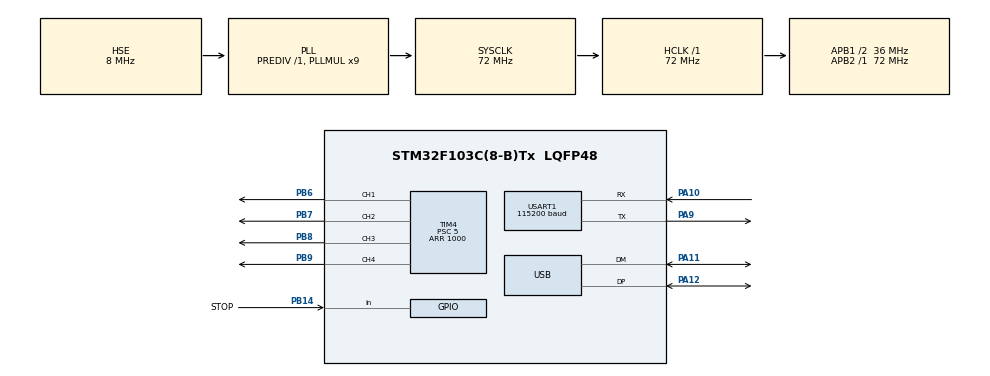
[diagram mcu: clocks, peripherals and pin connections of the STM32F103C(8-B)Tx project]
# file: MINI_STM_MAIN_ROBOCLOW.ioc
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Mcu.Family=STM32F1
Mcu.Name=STM32F103C(8-B)Tx
Mcu.Package=LQFP48
NVIC.PriorityGroup=NVIC_PRIORITYGROUP_4
NVIC.TIM3_IRQn=true\:0\:0\:false\:false\:true\:true\:true\:true
NVIC.USB_LP_CAN1_RX0_IRQn=true\:0\:0\:false\:false\:true\:false\:true\:true
PA10.Mode=Asynchronous
PA10.Signal=USART1_RX
PA11.Mode=Device
PA11.Signal=USB_DM
PA12.Mode=Device
PA12.Signal=USB_DP
PA13.Mode=Serial_Wire
PA13.Signal=SYS_JTMS-SWDIO
PA14.Mode=Serial_Wire
PA14.Signal=SYS_JTCK-SWCLK
PA9.Mode=Asynchronous
PA9.Signal=USART1_TX
PB14.GPIO_Label=STOP
PB14.GPIO_PuPd=GPIO_PULLUP
PB14.Signal=GPIO_Input
PB6.Signal=S_TIM4_CH1
PB7.Signal=S_TIM4_CH2
PB8.Signal=S_TIM4_CH3
PB9.Signal=S_TIM4_CH4
PD0-OSC_IN.Mode=HSE-External-Oscillator
PD0-OSC_IN.Signal=RCC_OSC_IN
PD1-OSC_OUT.Mode=HSE-External-Oscillator
PD1-OSC_OUT.Signal=RCC_OSC_OUT
ProjectManager.HeapSize=0x200
ProjectManager.StackSize=0x400
ProjectManager.TargetToolchain=STM32CubeIDE
RCC.AHBFreq_Value=72000000
RCC.APB1CLKDivider=RCC_HCLK_DIV2
RCC.APB1Freq_Value=36000000
RCC.APB1TimFreq_Value=72000000
RCC.APB2Freq_Value=72000000
RCC.APB2TimFreq_Value=72000000
RCC.HCLKFreq_Value=72000000
RCC.PLLMUL=RCC_PLL_MUL9
RCC.SYSCLKFreq_VALUE=72000000
RCC.SYSCLKSource=RCC_SYSCLKSOURCE_PLLCLK
RCC.USBFreq_Value=48000000
RCC.USBPrescaler=RCC_USBCLKSOURCE_PLL_DIV1_5
SH.S_TIM4_CH1.0=TIM4_CH1,PWM Generation1 CH1
SH.S_TIM4_CH2.0=TIM4_CH2,PWM Generation2 CH2
SH.S_TIM4_CH3.0=TIM4_CH3,PWM Generation3 CH3
SH.S_TIM4_CH4.0=TIM4_CH4,PWM Generation4 CH4
TIM3.Period=1000
TIM3.Prescaler=120
TIM4.Channel-PWM\ Generation1\ CH1=TIM_CHANNEL_1
TIM4.Channel-PWM\ Generation2\ CH2=TIM_CHANNEL_2
TIM4.Channel-PWM\ Generation3\ CH3=TIM_CHANNEL_3
TIM4.Channel-PWM\ Generation4\ CH4=TIM_CHANNEL_4
TIM4.Period=1000
TIM4.Prescaler=5
USART1.BaudRate=115200
USART1.VirtualMode=VM_ASYNC
USB_DEVICE.CLASS_NAME_FS=CDC
USB_DEVICE.VirtualMode=Cdc
USB_DEVICE.VirtualModeFS=Cdc_FS
VP_TIM3_VS_ClockSourceINT.Mode=Internal
VP_USB_DEVICE_VS_USB_DEVICE_CDC_FS.Mode=CDC_FS
board=custom

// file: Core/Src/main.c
/* USER CODE BEGIN Header */
/**
  ******************************************************************************
  * @file           : main.c
  * @brief          : Main program body
  ******************************************************************************
  * @attention
  *
  * Copyright (c) 2024 STMicroelectronics.
  * All rights reserved.
  *
  * This software is licensed under terms that can be found in the LICENSE file
  * in the root directory of this software component.
  * If no LICENSE file comes with this software, it is provided AS-IS.
  *
  ******************************************************************************
  */
/* USER CODE END Header */
#include "main.h"
#include "usb_device.h"

/* USER CODE BEGIN Includes */
#include "usbd_cdc_if.h"
#include <stdbool.h>
/* USER CODE END Includes */

TIM_HandleTypeDef htim3;
TIM_HandleTypeDef htim4;

UART_HandleTypeDef huart1;

void SystemClock_Config(void);
static void MX_GPIO_Init(void);
static void MX_TIM4_Init(void);
static void MX_TIM3_Init(void);
static void MX_USART1_UART_Init(void);

/* USER CODE BEGIN 0 */
int16_t length = 0;
int16_t function_code = 0;
int8_t new_data_received = 0;
int8_t start = 0;
int8_t stopPinCounter = 0;
int8_t fren = 0;
int16_t min_pwm = 0;
int16_t value[4] = {0} ;
int8_t number_of_bytes = 0;
int16_t starting_address = 0;
int16_t crc = 0xFFFF;
int16_t pwm_value1 = 0;
int16_t target_value1 = 0;
int16_t pwm_value2 = 0;
int16_t target_value2 = 0;
int16_t limit = 600;
int16_t default_pwm = 0;
int8_t slave_address = 1;
int16_t pwm_min = 80;
int16_t pwm_min_angular = 100;
int32_t counter_timer = 0;
int16_t no_response_wait_time = 1000;
static const int16_t crcTable[256] = {
    // CRC16-Modbus table
    0x0000, 0xC0C1, 0xC181, 0x0140, 0xC301, 0x03C0, 0x0280, 0xC241,
    0xC601, 0x06C0, 0x0780, 0xC741, 0x0500, 0xC5C1, 0xC481, 0x0440,
    0xCC01, 0x0CC0, 0x0D80, 0xCD41, 0x0F00, 0xCFC1, 0xCE81, 0x0E40,
    0x0A00, 0xCAC1, 0xCB81, 0x0B40, 0xC901, 0x09C0, 0x0880, 0xC841,
    0xD801, 0x18C0, 0x1980, 0xD941, 0x1B00, 0xDBC1, 0xDA81, 0x1A40,
    0x1E00, 0xDEC1, 0xDF81, 0x1F40, 0xDD01, 0x1DC0, 0x1C80, 0xDC41,
    0x1400, 0xD4C1, 0xD581, 0x1540, 0xD701, 0x17C0, 0x1680, 0xD641,
    0xD201, 0x12C0, 0x1380, 0xD341, 0x1100, 0xD1C1, 0xD081, 0x1040,
    0xF001, 0x30C0, 0x3180, 0xF141, 0x3300, 0xF3C1, 0xF281, 0x3240,
    0x3600, 0xF6C1, 0xF781, 0x3740, 0xF501, 0x35C0, 0x3480, 0xF441,
    0x3C00, 0xFCC1, 0xFD81, 0x3D40, 0xFF01, 0x3FC0, 0x3E80, 0xFE41,
    0xFA01, 0x3AC0, 0x3B80, 0xFB41, 0x3900, 0xF9C1, 0xF881, 0x3840,
    0x2800, 0xE8C1, 0xE981, 0x2940, 0xEB01, 0x2BC0, 0x2A80, 0xEA41,
    0xEE01, 0x2EC0, 0x2F80, 0xEF41, 0x2D00, 0xEDC1, 0xEC81, 0x2C40,
    0xE401, 0x24C0, 0x2580, 0xE541, 0x2700, 0xE7C1, 0xE681, 0x2640,
    0x2200, 0xE2C1, 0xE381, 0x2340, 0xE101, 0x21C0, 0x2080, 0xE041,
    0xA001, 0x60C0, 0x6180, 0xA141, 0x6300, 0xA3C1, 0xA281, 0x6240,
    0x6600, 0xA6C1, 0xA781, 0x6740, 0xA501, 0x65C0, 0x6480, 0xA441,
    0x6C00, 0xACC1, 0xAD81, 0x6D40, 0xAF01, 0x6FC0, 0x6E80, 0xAE41,
    0xAA01, 0x6AC0, 0x6B80, 0xAB41, 0x6900, 0xA9C1, 0xA881, 0x6840,
    0x7800, 0xB8C1, 0xB981, 0x7940, 0xBB01, 0x7BC0, 0x7A80, 0xBA41,
    0xBE01, 0x7EC0, 0x7F80, 0xBF41, 0x7D00, 0xBDC1, 0xBC81, 0x7C40,
    0xB401, 0x74C0, 0x7580, 0xB541, 0x7700, 0xB7C1, 0xB681, 0x7640,
    0x7200, 0xB2C1, 0xB381, 0x7340, 0xB101, 0x71C0, 0x7080, 0xB041,
    0x5000, 0x90C1, 0x9181, 0x5140, 0x9301, 0x53C0, 0x5280, 0x9241,
    0x9601, 0x56C0, 0x5780, 0x9741, 0x5500, 0x95C1, 0x9481, 0x5440,
    0x9C01, 0x5CC0, 0x5D80, 0x9D41, 0x5F00, 0x9FC1, 0x9E81, 0x5E40,
    0x5A00, 0x9AC1, 0x9B81, 0x5B40, 0x9901, 0x59C0, 0x5880, 0x9841,
    0x8801, 0x48C0, 0x4980, 0x8941, 0x4B00, 0x8BC1, 0x8A81, 0x4A40,
    0x4E00, 0x8EC1, 0x8F81, 0x4F40, 0x8D01, 0x4DC0, 0x4C80, 0x8C41,
    0x4400, 0x84C1, 0x8581, 0x4540, 0x8701, 0x47C0, 0x4680, 0x8641,
    0x8201, 0x42C0, 0x4380, 0x8341, 0x4100, 0x81C1, 0x8081, 0x4040
};

typedef struct {
    int16_t data[128];
} ModbusDevice;

ModbusDevice modbusDevices[15];
#define ROM_START_ADDRESS 0x08010000
#define PAGE_SIZE ((int32_t)FLASH_PAGE_SIZE)
#define PACKET_SIZE sizeof(ModbusDevice)
#define MOTOR_ADDRESS 0x80
#define FORWARD_COMMAND1 0x00
#define BACKWARD_COMMAND1 0x01
#define FORWARD_COMMAND2 0x04
#define BACKWARD_COMMAND2 0x05
#define STOP_COMMAND 0x00
#define FULL_SPEED 127

/* CRC Calculation Function */
int16_t calculateCRC(uint8_t *buffer, uint16_t length) {
    int16_t crc = 0xFFFF;
    for (int i = 0; i < length; ++i) {
        crc = (crc >> 8) ^ crcTable[(crc & 0xFF) ^ buffer[i]];
    }
    return crc;
}

/* UART Receive Complete Callback */

/* Transmit String over USB CDC */
void CDC_Transmit_String(char* string) {
    CDC_Transmit_FS((uint8_t*)string, strlen(string));
}

void CDC_ReceiveCallback(uint8_t *buf, uint32_t len) {
    // Callback function called when data is received over USB
	/*
    int16_t received_crc = (buf[len - 2] << 8) | buf[len - 1];
    int16_t calculated_crc = calculateCRC(buf, len - 2);

    if (calculated_crc != received_crc) {
        return;
    }
	*/
    slave_address = buf[0];
    function_code = buf[1];
    starting_address = (buf[2] << 8) | buf[3];
    length = (buf[4] << 8) | buf[5];
    new_data_received = 1;

    if (function_code == 16 && len >= 9 + length) {
        number_of_bytes = buf[6];
        for (int8_t i = 0; i < number_of_bytes; i += 2) {
            value[i / 2] = (buf[7 + i] << 8) | buf[8 + i];
        }
    }
}

void initialize_device(int8_t slave_address) {
    for (int16_t i = 0; i < 300; i++) {
        modbusDevices[slave_address].data[i] = 0;
    }
}

void write_to_modbus(uint8_t index,int16_t value){
	modbusDevices[slave_address].data[index]= value;
}

void write_command(int8_t slave_address, int16_t starting_address, int16_t length) {
	modbusDevices[slave_address].data[starting_address] = length;
}
void write_multiple_command(int8_t slave_address, int16_t starting_address, int16_t length, int16_t* value) {
    for (int16_t i = 0; i < number_of_bytes/2; i++) {
        modbusDevices[slave_address].data[starting_address + i] = value[i];
        //CDC_Transmit_FS(modbusDevices[slave_address].data, 10);
    }

}
void read_command(int8_t slave_address, int16_t starting_address, int16_t length, int16_t crc) {
    uint8_t response[128] = {0};
    uint8_t response_length = 3 + length * 2 + 2;
    if (starting_address + length <= 128) {
        response[0] = slave_address;
        response[1] = 0x03;
        response[2] = length * 2;

        for (int8_t i = 0; i < length; i++) {
            response[3 + i * 2] = modbusDevices[slave_address].data[starting_address + i] >> 8;
            response[3 + i * 2 + 1] = modbusDevices[slave_address].data[starting_address + i] & 0xFF;
        }

        crc = calculateCRC(response, response_length - 2);
        response[response_length - 2] = crc & 0xFF;
        response[response_length - 1] = crc >> 8;

        CDC_Transmit_FS(response, response_length);
    }
}

/*

OUTS
mosfet_1_A_H
mosfet_1_B_H
mosfet_2_A_H
mosfet_2_B_H
mosfet_3_A_H
mosfet_3_B_H
mosfet_4_A_H
mosfet_4_B_H

PWMS
mosfet_1_A_L	 Timer 2 Channel 1
mosfet_1_B_L	 Timer 2 Channel 2
mosfet_2_A_L	 Timer 2 Channel 3
mosfet_2_B_L	 Timer 2 Channel 4
mosfet_3_A_L	 Timer 4 Channel 1
mosfet_3_B_L	 Timer 4 Channel 2
mosfet_4_A_L	 Timer 4 Channel 3
mosfet_4_B_L	 Timer 4 Channel 4

mosfet_1_A_L	 Timer 2 Channel 3
mosfet_1_B_L	 Timer 2 Channel 1
mosfet_2_A_L	 Timer 2 Channel 4
mosfet_2_B_L	 Timer 2 Channel 2
mosfet_3_A_L	 Timer 4 Channel 3
mosfet_3_B_L	 Timer 4 Channel 1
mosfet_4_A_L	 Timer 4 Channel 4
mosfet_4_B_L	 Timer 4 Channel 2

*/

unsigned int crc16_xmodem(unsigned char *packet, int nBytes) {
    unsigned int crc = 0x0000;  // CRC-16/XMODEM için başlangıç değeri
    for (int byte = 0; byte < nBytes; byte++) {
        crc ^= ((unsigned int)packet[byte] << 8);
        for (unsigned char bit = 0; bit < 8; bit++) {
            if (crc & 0x8000) {
                crc = ((crc << 1) ^ 0x1021);
            } else {
                crc <<= 1;
            }
        }
        crc &= 0xFFFF;  // CRC'yi 16 bit ile sınırla
    }
    return crc;
}

void send_motor_command(uint8_t command, uint8_t speed) {
    uint8_t packet[5];
    packet[0] = MOTOR_ADDRESS;
    packet[1] = command;
    packet[2] = speed;

    // CRC'yi hesapla (CRC-16/XMODEM)
    unsigned int crc = crc16_xmodem(packet, 3);

    // CRC'yi pakete ekle (MSB önce olacak şekilde)
    packet[3] = (crc >> 8) & 0xFF;  // CRC üst bayt (MSB)
    packet[4] = crc & 0xFF;         // CRC alt bayt (LSB)

    // Paketi UART üzerinden gönder
    HAL_UART_Transmit(&huart1, packet, 5, HAL_MAX_DELAY);
}

void drive_motor_forward1(int8_t speed) {
    send_motor_command(FORWARD_COMMAND1, speed);
}

void drive_motor_backward1(int8_t speed) {
    send_motor_command(BACKWARD_COMMAND1, speed);
}

void drive_motor_forward2(int8_t speed) {
    send_motor_command(FORWARD_COMMAND2, speed);
}

void drive_motor_backward2(int8_t speed) {
    send_motor_command(BACKWARD_COMMAND2, speed);
}

void stop_motor(void) {
    send_motor_command(STOP_COMMAND, 0);
}

int ConstrainTargetValue(int target)
{
    if (target < min_pwm && target > 2) {
        return min_pwm;
    } else if (target > -min_pwm && target < -2) {
        return -min_pwm;
    }
    return target;
}

int ConstrainTargetValue2(int target)
{
    if (target < 100 && target >-100) {
        return 0;
    }
    else{
    	return target;
    }

}

void setPWMValues__Right(int16_t pwm)
{
    // speed'i hesapla
    int16_t temp_speed = (pwm * 128) / 1000;

    // speed değerini -127 ile 127 arasında sınırla
    if (temp_speed > 127)
        temp_speed = 127;
    else if (temp_speed < -127)
        temp_speed = -127;

    int8_t speed = (int8_t)temp_speed;

    // Motoru sür
    if(speed >= 0){
        drive_motor_forward1(speed);
    } else {
        drive_motor_backward1(-speed);
    }

    write_to_modbus(4, speed);
}

void setPWMValues_Left(int16_t pwm)
{
    // speed'i hesapla
    int16_t temp_speed = (pwm * 128) / 1000;

    // speed değerini -127 ile 127 arasında sınırla
    if (temp_speed > 127)
        temp_speed = 127;
    else if (temp_speed < -127)
        temp_speed = -127;

    int8_t speed = (int8_t)temp_speed;

    // Motoru sür
    if(speed >= 0){
        drive_motor_forward2(speed);
    } else {
        drive_motor_backward2(-speed);
    }

    write_to_modbus(5, speed);
}

void incrementPWMValue(int16_t *pwm_value, int16_t target_value)
{
	int8_t inc = 2;
	if (*pwm_value<10 && *pwm_value >-10){
		inc=1;
	}else{
		inc=2;
	}
    if (*pwm_value < target_value) {
        *pwm_value += inc;
        if (*pwm_value > target_value) {
            *pwm_value = target_value;
        }
    } else if (*pwm_value > target_value) {
        *pwm_value -= inc;
        if (*pwm_value < target_value) {
            *pwm_value = target_value;
        }
    }

    // Limit check for pwm_value
    if (*pwm_value > limit) *pwm_value = limit;
    if (*pwm_value < -limit) *pwm_value = -limit;
}

void UpdatePWMValues(void)
{
    static int prev_pwm_value1 = 0;
    static int prev_pwm_value2 = 0;
    int16_t pwm1 =0;
    int16_t pwm2 =0;
    min_pwm=pwm_min;

    if (((target_value1 > 0 && target_value2 < 0) || (target_value1 < 0 && target_value2 > 0)) && abs((abs( modbusDevices[01].data[0]) - abs( modbusDevices[01].data[1]))<50 )){
    	min_pwm = pwm_min_angular;
    }

    incrementPWMValue(&pwm_value1, target_value1);
    incrementPWMValue(&pwm_value2, target_value2);
    if (abs(prev_pwm_value1) >= abs(pwm_value1)){
    pwm1 = ConstrainTargetValue2(pwm_value1);
    pwm2 = ConstrainTargetValue2(pwm_value2);

    target_value1 = ConstrainTargetValue2(target_value1);
    target_value2 = ConstrainTargetValue2(target_value2);
    }
    else{
    pwm1 = ConstrainTargetValue(pwm_value1);
    pwm2 = ConstrainTargetValue(pwm_value2);
    pwm_value1 = ConstrainTargetValue(pwm_value1);
    pwm_value2 = ConstrainTargetValue(pwm_value2);
    target_value1 = ConstrainTargetValue(target_value1);
    target_value2 = ConstrainTargetValue(target_value2);
    }

	setPWMValues_Left(pwm1);
	prev_pwm_value1 = pwm_value1;
	write_to_modbus(18,pwm_value1);

	setPWMValues__Right(pwm2);
	prev_pwm_value2 = pwm_value2;
	write_to_modbus(19,pwm_value2);

}

bool Check_Stop_Pin()
{

    if(HAL_GPIO_ReadPin(STOP_GPIO_Port, STOP_Pin) == GPIO_PIN_RESET)
    {
        return false;
    }

    else
    {
        return true;
    }
}

 // Sayaç değişkeni

void SetTargetValues() {
    if(Check_Stop_Pin()) {
        stopPinCounter = 0;  // Reset sayaç
        /*
        if(pwm_value1 >0 && pwm_value1 <250 &&  modbusDevices[01].data[0] <= 0 && modbusDevices[01].data[6] == 300 ){
        	pwm_value1=modbusDevices[01].data[6];
        }
        if(pwm_value1 <0 && pwm_value1 >-250 &&  modbusDevices[01].data[0] >=  0  && modbusDevices[01].data[4] == -300){
        	pwm_value1=modbusDevices[01].data[4];
        }
        if(pwm_value2 >0 && pwm_value2 <250 &&  modbusDevices[01].data[1] <= 0 && modbusDevices[01].data[7] == 300){
        	pwm_value2=modbusDevices[01].data[7];
        }
        if(pwm_value2 <0 && pwm_value2 >-250 &&  modbusDevices[01].data[1] >=  0 && modbusDevices[01].data[5] == -300){
        	pwm_value2=modbusDevices[01].data[5];
        }
	*/
        int16_t temp_target_1 = modbusDevices[01].data[0];
        int16_t temp_target_2 = modbusDevices[01].data[1];

        if(temp_target_1>0&&temp_target_1<min_pwm)temp_target_1=min_pwm;
        if(temp_target_2>0&&temp_target_2<min_pwm)temp_target_2=min_pwm;

        if(temp_target_1<0&&temp_target_1>-min_pwm)temp_target_1=-min_pwm;
		if(temp_target_2<0&&temp_target_2>-min_pwm)temp_target_2=-min_pwm;

		target_value1=temp_target_1;

		target_value2=temp_target_2;

        write_to_modbus(14,1);
    } else {
        stopPinCounter++;

        if (stopPinCounter >= 5) {
            target_value1 = 0;
            target_value2 = 0;
            write_to_modbus(14,0);
        }
    }
}

/* USER CODE END 0 */

int main(void)
{

  /* MCU Configuration--------------------------------------------------------*/

  /* Reset of all peripherals, Initializes the Flash interface and the Systick. */
  HAL_Init();

  /* Configure the system clock */
  SystemClock_Config();

  /* Initialize all configured peripherals */
  MX_GPIO_Init();
  MX_TIM4_Init();
  MX_USB_DEVICE_Init();
  MX_TIM3_Init();
  MX_USART1_UART_Init();
  /* USER CODE BEGIN 2 */
  initialize_device(1);
  if (HAL_TIM_Base_Start_IT(&htim3) != HAL_OK)
  {
    /* Starting Error */
    Error_Handler();
  }
  MX_USB_DEVICE_Init();
  /* USER CODE END 2 */

  /* Infinite loop */
  /* USER CODE BEGIN WHILE */
  while (1)
  {

	  SetTargetValues();

      if (new_data_received) {
    	  counter_timer =  HAL_GetTick();;
    	  if(function_code == 6) {
    		  write_command(slave_address, starting_address, length);
          } else if(function_code == 16) {
        	  write_multiple_command(slave_address, starting_address, length,value);
          }else {
        	  read_command(slave_address, starting_address, length, crc);
    	  }
    	  start=1;
          new_data_received = 0;
      }
      limit = modbusDevices[01].data[15];
      pwm_min = modbusDevices[01].data[16];
      pwm_min_angular = modbusDevices[01].data[17];

      if(( HAL_GetTick()-counter_timer)>no_response_wait_time ){
      modbusDevices[01].data[0]=0;
      modbusDevices[01].data[1]=0;
      modbusDevices[01].data[2]=0;
      modbusDevices[01].data[3]=0;
      }

    /* USER CODE END WHILE */

  }
}

void SystemClock_Config(void)
{
  RCC_OscInitTypeDef RCC_OscInitStruct = {0};
  RCC_ClkInitTypeDef RCC_ClkInitStruct = {0};
  RCC_PeriphCLKInitTypeDef PeriphClkInit = {0};

  /** Initializes the RCC Oscillators according to the specified parameters
  * in the RCC_OscInitTypeDef structure.
  */
  RCC_OscInitStruct.OscillatorType = RCC_OSCILLATORTYPE_HSE;
  RCC_OscInitStruct.HSEState = RCC_HSE_ON;
  RCC_OscInitStruct.HSEPredivValue = RCC_HSE_PREDIV_DIV1;
  RCC_OscInitStruct.HSIState = RCC_HSI_ON;
  RCC_OscInitStruct.PLL.PLLState = RCC_PLL_ON;
  RCC_OscInitStruct.PLL.PLLSource = RCC_PLLSOURCE_HSE;
  RCC_OscInitStruct.PLL.PLLMUL = RCC_PLL_MUL9;
  if (HAL_RCC_OscConfig(&RCC_OscInitStruct) != HAL_OK)
  {
    Error_Handler();
  }

  /** Initializes the CPU, AHB and APB buses clocks
  */
  RCC_ClkInitStruct.ClockType = RCC_CLOCKTYPE_HCLK|RCC_CLOCKTYPE_SYSCLK
                              |RCC_CLOCKTYPE_PCLK1|RCC_CLOCKTYPE_PCLK2;
  RCC_ClkInitStruct.SYSCLKSource = RCC_SYSCLKSOURCE_PLLCLK;
  RCC_ClkInitStruct.AHBCLKDivider = RCC_SYSCLK_DIV1;
  RCC_ClkInitStruct.APB1CLKDivider = RCC_HCLK_DIV2;
  RCC_ClkInitStruct.APB2CLKDivider = RCC_HCLK_DIV1;

  if (HAL_RCC_ClockConfig(&RCC_ClkInitStruct, FLASH_LATENCY_2) != HAL_OK)
  {
    Error_Handler();
  }
  PeriphClkInit.PeriphClockSelection = RCC_PERIPHCLK_USB;
  PeriphClkInit.UsbClockSelection = RCC_USBCLKSOURCE_PLL_DIV1_5;
  if (HAL_RCCEx_PeriphCLKConfig(&PeriphClkInit) != HAL_OK)
  {
    Error_Handler();
  }
}

static void MX_TIM3_Init(void)
{

  TIM_ClockConfigTypeDef sClockSourceConfig = {0};
  TIM_MasterConfigTypeDef sMasterConfig = {0};

  htim3.Instance = TIM3;
  htim3.Init.Prescaler = 120;
  htim3.Init.CounterMode = TIM_COUNTERMODE_UP;
  htim3.Init.Period = 1000;
  htim3.Init.ClockDivision = TIM_CLOCKDIVISION_DIV1;
  htim3.Init.AutoReloadPreload = TIM_AUTORELOAD_PRELOAD_DISABLE;
  if (HAL_TIM_Base_Init(&htim3) != HAL_OK)
  {
    Error_Handler();
  }
  sClockSourceConfig.ClockSource = TIM_CLOCKSOURCE_INTERNAL;
  if (HAL_TIM_ConfigClockSource(&htim3, &sClockSourceConfig) != HAL_OK)
  {
    Error_Handler();
  }
  sMasterConfig.MasterOutputTrigger = TIM_TRGO_RESET;
  sMasterConfig.MasterSlaveMode = TIM_MASTERSLAVEMODE_DISABLE;
  if (HAL_TIMEx_MasterConfigSynchronization(&htim3, &sMasterConfig) != HAL_OK)
  {
    Error_Handler();
  }

}

static void MX_TIM4_Init(void)
{

  TIM_MasterConfigTypeDef sMasterConfig = {0};
  TIM_OC_InitTypeDef sConfigOC = {0};

  htim4.Instance = TIM4;
  htim4.Init.Prescaler = 5;
  htim4.Init.CounterMode = TIM_COUNTERMODE_UP;
  htim4.Init.Period = 1000;
  htim4.Init.ClockDivision = TIM_CLOCKDIVISION_DIV1;
  htim4.Init.AutoReloadPreload = TIM_AUTORELOAD_PRELOAD_DISABLE;
  if (HAL_TIM_PWM_Init(&htim4) != HAL_OK)
  {
    Error_Handler();
  }
  sMasterConfig.MasterOutputTrigger = TIM_TRGO_RESET;
  sMasterConfig.MasterSlaveMode = TIM_MASTERSLAVEMODE_DISABLE;
  if (HAL_TIMEx_MasterConfigSynchronization(&htim4, &sMasterConfig) != HAL_OK)
  {
    Error_Handler();
  }
  sConfigOC.OCMode = TIM_OCMODE_PWM1;
  sConfigOC.Pulse = 0;
  sConfigOC.OCPolarity = TIM_OCPOLARITY_HIGH;
  sConfigOC.OCFastMode = TIM_OCFAST_DISABLE;
  if (HAL_TIM_PWM_ConfigChannel(&htim4, &sConfigOC, TIM_CHANNEL_1) != HAL_OK)
  {
    Error_Handler();
  }
  if (HAL_TIM_PWM_ConfigChannel(&htim4, &sConfigOC, TIM_CHANNEL_2) != HAL_OK)
  {
    Error_Handler();
  }
  if (HAL_TIM_PWM_ConfigChannel(&htim4, &sConfigOC, TIM_CHANNEL_3) != HAL_OK)
  {
    Error_Handler();
  }
  if (HAL_TIM_PWM_ConfigChannel(&htim4, &sConfigOC, TIM_CHANNEL_4) != HAL_OK)
  {
    Error_Handler();
  }
  HAL_TIM_MspPostInit(&htim4);

}

static void MX_USART1_UART_Init(void)
{

  huart1.Instance = USART1;
  huart1.Init.BaudRate = 115200;
  huart1.Init.WordLength = UART_WORDLENGTH_8B;
  huart1.Init.StopBits = UART_STOPBITS_1;
  huart1.Init.Parity = UART_PARITY_NONE;
  huart1.Init.Mode = UART_MODE_TX_RX;
  huart1.Init.HwFlowCtl = UART_HWCONTROL_NONE;
  huart1.Init.OverSampling = UART_OVERSAMPLING_16;
  if (HAL_UART_Init(&huart1) != HAL_OK)
  {
    Error_Handler();
  }

}

static void MX_GPIO_Init(void)
{
  GPIO_InitTypeDef GPIO_InitStruct = {0};

  /* GPIO Ports Clock Enable */
  __HAL_RCC_GPIOD_CLK_ENABLE();
  __HAL_RCC_GPIOB_CLK_ENABLE();
  __HAL_RCC_GPIOA_CLK_ENABLE();

  /*Configure GPIO pin : STOP_Pin */
  GPIO_InitStruct.Pin = STOP_Pin;
  GPIO_InitStruct.Mode = GPIO_MODE_INPUT;
  GPIO_InitStruct.Pull = GPIO_PULLUP;
  HAL_GPIO_Init(STOP_GPIO_Port, &GPIO_InitStruct);

}

void Error_Handler(void)
{
  __disable_irq();
  while (1)
  {
  }
}
